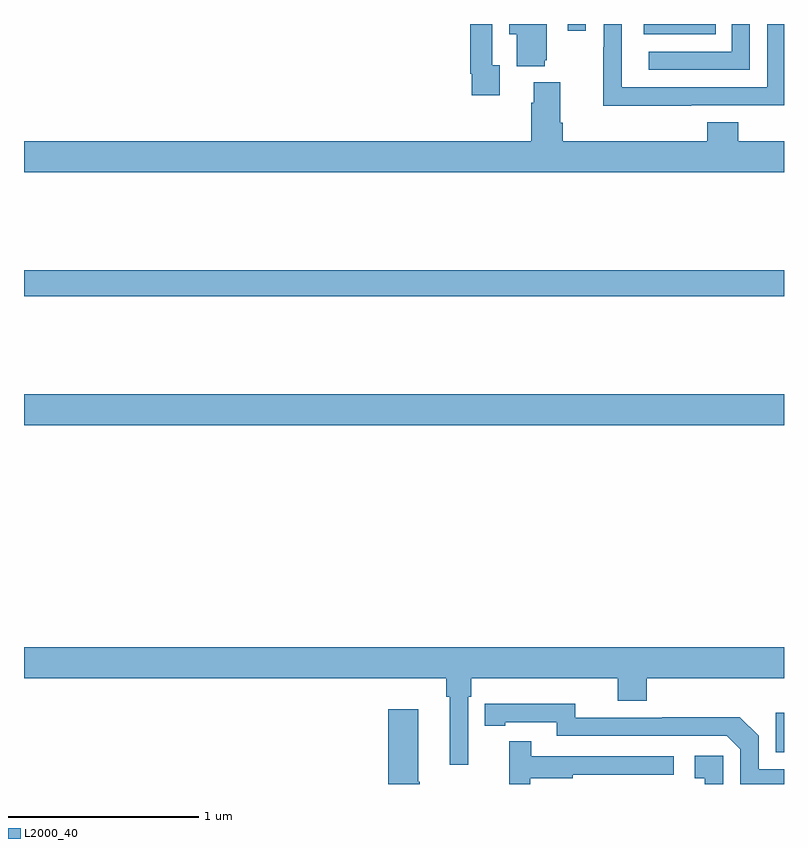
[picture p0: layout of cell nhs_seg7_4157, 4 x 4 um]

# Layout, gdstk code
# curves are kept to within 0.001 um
import gdstk
lib = gdstk.Library(unit=1e-6, precision=1e-09)
def R(c, l, rs):  # rectangles x0, y0, x1, y1
    for r in rs: c.add(gdstk.rectangle(r[:2], r[2:], *l))
def P(c, l, *ps):  # polygons
    for p in ps: c.add(gdstk.Polygon(p, *l))
L2000_40 = (2000, 40)

nhs_seg7_4157 = lib.new_cell('nhs_seg7_4157')
R(nhs_seg7_4157, L2000_40, [(376.956,1060.167,377,1060.375), (373,1061.888,377,1062.052), (373,1062.568,377,1062.704), (376.262,1063.946,376.64,1064), (375.861,1063.965,375.957,1064)])
P(nhs_seg7_4157, L2000_40, [(376.511,1063.572),(377,1063.572),(377,1064),(376.911,1064),(376.911,1063.668),(376.146,1063.668),(376.146,1064),(376.05,1064),(376.05,1063.877),(376.048,1063.877),(376.048,1063.571),(376.511,1063.571)],
  [(376.821,1064),(376.725,1064),(376.725,1063.854),(376.287,1063.854),(376.287,1063.758),(376.821,1063.758)],
  [(375.74,1063.809),(375.751,1063.809),(375.751,1064),(375.554,1064),(375.554,1063.946),(375.593,1063.946),(375.593,1063.778),(375.74,1063.778)],
  [(375.505,1063.782),(375.465,1063.782),(375.465,1064),(375.349,1064),(375.349,1063.738),(375.357,1063.738),(375.357,1063.626),(375.505,1063.626)],
  [(377,1063.384),(376.76,1063.384),(376.76,1063.483),(376.595,1063.483),(376.595,1063.384),(375.836,1063.384),(375.836,1063.48),(375.823,1063.48),(375.823,1063.693),(375.683,1063.693),(375.683,1063.586),(375.671,1063.586),(375.671,1063.384),(373,1063.384),(373,1063.22),(377,1063.22)],
  [(375.339,1060.46),(375.353,1060.46),(375.353,1060.556),(376.124,1060.556),(376.124,1060.439),(376.277,1060.439),(376.277,1060.556),(377,1060.556),(377,1060.72),(373,1060.72),(373,1060.556),(375.223,1060.556),(375.223,1060.46),(375.242,1060.46),(375.242,1060.101),(375.339,1060.101)],
  [(377,1060.077),(376.866,1060.077),(376.866,1060.254),(376.768,1060.352),(376.36,1060.352),(376.36,1060.35),(375.9,1060.35),(375.9,1060.423),(375.424,1060.422),(375.424,1060.306),(375.532,1060.306),(375.532,1060.326),(375.804,1060.326),(375.804,1060.254),(376.698,1060.254),(376.77,1060.182),(376.77,1060),(377,1060)],
  [(375.084,1060.013),(375.076,1060.013),(375.076,1060.393),(374.918,1060.393),(374.918,1060),(375.084,1060)],
  [(375.664,1060.03),(375.887,1060.03),(375.887,1060.05),(376.42,1060.05),(376.42,1060.146),(375.671,1060.146),(375.671,1060.225),(375.554,1060.225),(375.554,1060),(375.664,1060)],
  [(376.68,1060.15),(376.53,1060.15),(376.53,1060.029),(376.583,1060.029),(376.583,1060),(376.68,1060)])

lib.write_gds('nhs_seg7_4157.gds')
